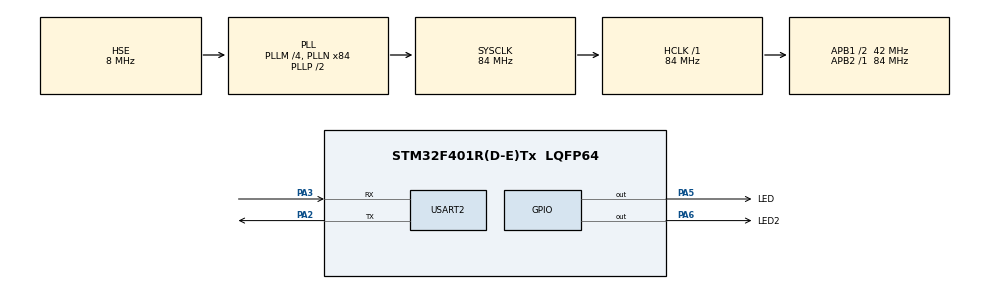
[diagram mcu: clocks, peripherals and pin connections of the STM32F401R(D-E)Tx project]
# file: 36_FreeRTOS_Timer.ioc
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Mcu.Family=STM32F4
Mcu.Name=STM32F401R(D-E)Tx
Mcu.Package=LQFP64
NVIC.PriorityGroup=NVIC_PRIORITYGROUP_4
NVIC.TIM1_TRG_COM_TIM11_IRQn=true\:15\:0\:false\:false\:true\:false\:true\:true
NVIC.TimeBase=TIM1_TRG_COM_TIM11_IRQn
NVIC.TimeBaseIP=TIM11
NVIC.USART2_IRQn=true\:0\:0\:false\:false\:true\:true\:true\:true
PA2.Mode=Asynchronous
PA2.Signal=USART2_TX
PA3.Mode=Asynchronous
PA3.Signal=USART2_RX
PA5.GPIO_Label=LED
PA5.Signal=GPIO_Output
PA6.GPIO_Label=LED2
PA6.Signal=GPIO_Output
PH0\ -\ OSC_IN.Mode=HSE-External-Clock-Source
PH0\ -\ OSC_IN.Signal=RCC_OSC_IN
PH1\ -\ OSC_OUT.Mode=HSE-External-Clock-Source
PH1\ -\ OSC_OUT.Signal=RCC_OSC_OUT
ProjectManager.HeapSize=0x200
ProjectManager.StackSize=0x400
ProjectManager.TargetToolchain=STM32CubeIDE
RCC.48MHZClocksFreq_Value=42000000
RCC.AHBFreq_Value=84000000
RCC.APB1CLKDivider=RCC_HCLK_DIV2
RCC.APB1Freq_Value=42000000
RCC.APB1TimFreq_Value=84000000
RCC.APB2Freq_Value=84000000
RCC.APB2TimFreq_Value=84000000
RCC.CortexFreq_Value=84000000
RCC.HCLKFreq_Value=84000000
RCC.HSE_VALUE=8000000
RCC.HSI_VALUE=16000000
RCC.LSE_VALUE=32768
RCC.PLLM=4
RCC.PLLN=84
RCC.PLLSourceVirtual=RCC_PLLSOURCE_HSE
RCC.SYSCLKFreq_VALUE=84000000
RCC.SYSCLKSource=RCC_SYSCLKSOURCE_PLLCLK
RCC.VCOOutputFreq_Value=168000000
USART2.VirtualMode=VM_ASYNC
VP_SYS_VS_tim11.Mode=TIM11
board=custom

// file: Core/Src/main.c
/* USER CODE BEGIN Header */
/* USER CODE END Header */
#include "main.h"
#include "usart.h"
#include "gpio.h"

/* USER CODE BEGIN Includes */
#include "stdio.h"
#include "string.h"

#include "FreeRTOS.h"
#include "task.h"
#include "timers.h"
/* USER CODE END Includes */

/* USER CODE BEGIN PV */
TaskHandle_t task1_handle;
TaskHandle_t timer1;
TaskHandle_t timer2;

BaseType_t status;
/* USER CODE END PV */

void SystemClock_Config(void);
/* USER CODE BEGIN PFP */
void vTimer1Callback(TimerHandle_t xTimer);
void vTimer2Callback(TimerHandle_t xTimer);
/* USER CODE END PFP */

/* USER CODE BEGIN 0 */
#define SYSTEM_VIEW				1

/* USER CODE END 0 */

int main(void)
{

  /* MCU Configuration--------------------------------------------------------*/

  /* Reset of all peripherals, Initializes the Flash interface and the Systick. */
  HAL_Init();

  /* Configure the system clock */
  SystemClock_Config();

  /* Initialize all configured peripherals */
  MX_GPIO_Init();
  MX_USART2_UART_Init();
  /* USER CODE BEGIN 2 */

  timer1 = xTimerCreate("Timer1", pdMS_TO_TICKS(500), pdTRUE, NULL, vTimer1Callback);
  configASSERT(timer1 != NULL);

  //inicializamos Timer:
  status = xTimerStart(timer1,pdMS_TO_TICKS(1000));
  configASSERT(status == pdPASS);

  /////////////TIMER 2
  timer2 = xTimerCreate("Timer2", pdMS_TO_TICKS(100), pdTRUE, NULL, vTimer1Callback);

  //timer2 = xTimerCreate("Timer2", pdMS_TO_TICKS(100), pdTRUE, NULL, vTimer2Callback);

  configASSERT(timer2 != NULL);

  //inicializamos Timer:
  status = xTimerStart(timer2,pdMS_TO_TICKS(1000));
  configASSERT(status == pdPASS);

  vTaskStartScheduler();//Arrancamos el kernel

  /* USER CODE END 2 */

  /* Infinite loop */
  while(1){
  }

}

void SystemClock_Config(void)
{
  RCC_OscInitTypeDef RCC_OscInitStruct = {0};
  RCC_ClkInitTypeDef RCC_ClkInitStruct = {0};

  /** Configure the main internal regulator output voltage
  */
  __HAL_RCC_PWR_CLK_ENABLE();
  __HAL_PWR_VOLTAGESCALING_CONFIG(PWR_REGULATOR_VOLTAGE_SCALE2);

  /** Initializes the RCC Oscillators according to the specified parameters
  * in the RCC_OscInitTypeDef structure.
  */
  RCC_OscInitStruct.OscillatorType = RCC_OSCILLATORTYPE_HSE;
  RCC_OscInitStruct.HSEState = RCC_HSE_BYPASS;
  RCC_OscInitStruct.PLL.PLLState = RCC_PLL_ON;
  RCC_OscInitStruct.PLL.PLLSource = RCC_PLLSOURCE_HSE;
  RCC_OscInitStruct.PLL.PLLM = 4;
  RCC_OscInitStruct.PLL.PLLN = 84;
  RCC_OscInitStruct.PLL.PLLP = RCC_PLLP_DIV2;
  RCC_OscInitStruct.PLL.PLLQ = 4;
  if (HAL_RCC_OscConfig(&RCC_OscInitStruct) != HAL_OK)
  {
    Error_Handler();
  }

  /** Initializes the CPU, AHB and APB buses clocks
  */
  RCC_ClkInitStruct.ClockType = RCC_CLOCKTYPE_HCLK|RCC_CLOCKTYPE_SYSCLK
                              |RCC_CLOCKTYPE_PCLK1|RCC_CLOCKTYPE_PCLK2;
  RCC_ClkInitStruct.SYSCLKSource = RCC_SYSCLKSOURCE_PLLCLK;
  RCC_ClkInitStruct.AHBCLKDivider = RCC_SYSCLK_DIV1;
  RCC_ClkInitStruct.APB1CLKDivider = RCC_HCLK_DIV2;
  RCC_ClkInitStruct.APB2CLKDivider = RCC_HCLK_DIV1;

  if (HAL_RCC_ClockConfig(&RCC_ClkInitStruct, FLASH_LATENCY_2) != HAL_OK)
  {
    Error_Handler();
  }
}

/* USER CODE BEGIN 4 */
void vTimer1Callback(TimerHandle_t xTimer){
	if(xTimer == timer1){
		GPIOA->ODR ^= (1<<5);
	}
	else if(xTimer == timer2){
		GPIOA->ODR ^= (1<<6);
	}

	//GPIOA->ODR ^= (1<<5);

}

void vTimer2Callback(TimerHandle_t xTimer){

	GPIOA->ODR ^= (1<<6);

}

/* USER CODE END 4 */

void HAL_TIM_PeriodElapsedCallback(TIM_HandleTypeDef *htim)
{
  if (htim->Instance == TIM11) {
    HAL_IncTick();
  }
}

void Error_Handler(void)
{
}
